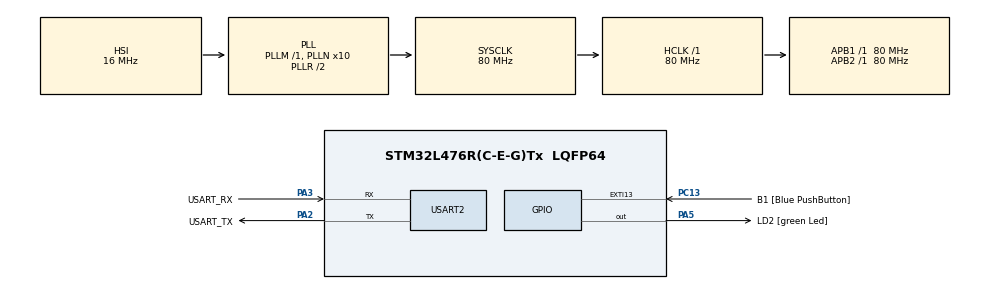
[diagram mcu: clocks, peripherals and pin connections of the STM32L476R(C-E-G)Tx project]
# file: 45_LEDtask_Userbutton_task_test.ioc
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FREERTOS.Tasks01=defaultTask,0,128,StartDefaultTask,Default,NULL,Dynamic,NULL,NULL
Mcu.Family=STM32L4
Mcu.Name=STM32L476R(C-E-G)Tx
Mcu.Package=LQFP64
NVIC.PriorityGroup=NVIC_PRIORITYGROUP_4
PA13\ (JTMS-SWDIO).GPIO_Label=TMS
PA13\ (JTMS-SWDIO).Mode=Serial_Wire
PA13\ (JTMS-SWDIO).Signal=SYS_JTMS-SWDIO
PA14\ (JTCK-SWCLK).GPIO_Label=TCK
PA14\ (JTCK-SWCLK).Mode=Serial_Wire
PA14\ (JTCK-SWCLK).Signal=SYS_JTCK-SWCLK
PA2.GPIO_Label=USART_TX
PA2.GPIO_Mode=GPIO_MODE_AF_PP
PA2.GPIO_PuPd=GPIO_NOPULL
PA2.GPIO_Speed=GPIO_SPEED_FREQ_VERY_HIGH
PA2.Mode=Asynchronous
PA2.Signal=USART2_TX
PA3.GPIO_Label=USART_RX
PA3.GPIO_Mode=GPIO_MODE_AF_PP
PA3.GPIO_PuPd=GPIO_NOPULL
PA3.GPIO_Speed=GPIO_SPEED_FREQ_VERY_HIGH
PA3.Mode=Asynchronous
PA3.Signal=USART2_RX
PA5.GPIO_Label=LD2 [green Led]
PA5.GPIO_ModeDefaultOutputPP=GPIO_MODE_OUTPUT_PP
PA5.GPIO_PuPd=GPIO_NOPULL
PA5.GPIO_Speed=GPIO_SPEED_FREQ_LOW
PA5.Signal=GPIO_Output
PB3\ (JTDO-TRACESWO).GPIO_Label=SWO
PB3\ (JTDO-TRACESWO).Signal=SYS_JTDO-SWO
PC13.GPIO_Label=B1 [Blue PushButton]
PC13.GPIO_ModeDefaultEXTI=GPIO_MODE_IT_FALLING
PC13.GPIO_PuPd=GPIO_NOPULL
PC13.Signal=GPXTI13
PC14-OSC32_IN\ (PC14).Mode=LSE-External-Oscillator
PC14-OSC32_IN\ (PC14).Signal=RCC_OSC32_IN
PC15-OSC32_OUT\ (PC15).Mode=LSE-External-Oscillator
PC15-OSC32_OUT\ (PC15).Signal=RCC_OSC32_OUT
PH0-OSC_IN\ (PH0).Signal=RCC_OSC_IN
PH1-OSC_OUT\ (PH1).Signal=RCC_OSC_OUT
ProjectManager.HeapSize=0x200
ProjectManager.StackSize=0x400
ProjectManager.TargetToolchain=STM32CubeIDE
RCC.ADCFreq_Value=64000000
RCC.AHBFreq_Value=80000000
RCC.APB1Freq_Value=80000000
RCC.APB1TimFreq_Value=80000000
RCC.APB2Freq_Value=80000000
RCC.APB2TimFreq_Value=80000000
RCC.CortexFreq_Value=80000000
RCC.HCLKFreq_Value=80000000
RCC.HSE_VALUE=8000000
RCC.HSI_VALUE=16000000
RCC.MSI_VALUE=4000000
RCC.PLLN=10
RCC.PLLSourceVirtual=RCC_PLLSOURCE_HSI
RCC.PREFETCH_ENABLE=1
RCC.SYSCLKFreq_VALUE=80000000
RCC.SYSCLKSource=RCC_SYSCLKSOURCE_PLLCLK
RCC.USBFreq_Value=64000000
RCC.VCOOutputFreq_Value=160000000
USART2.VirtualMode-Asynchronous=VM_ASYNC
VP_FREERTOS_VS_CMSIS_V1.Mode=CMSIS_V1
board=NUCLEO-L476RG

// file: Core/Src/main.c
/* USER CODE BEGIN Header */
/**
  ******************************************************************************
  * @file           : main.c
  * @brief          : Main program body
  ******************************************************************************
  * @attention
  *
  * Copyright (c) 2025 STMicroelectronics.
  * All rights reserved.
  *
  * This software is licensed under terms that can be found in the LICENSE file
  * in the root directory of this software component.
  * If no LICENSE file comes with this software, it is provided AS-IS.
  *
  ******************************************************************************
  */
/* USER CODE END Header */
#include "main.h"
#include "cmsis_os.h"

/* USER CODE BEGIN Includes */
#include<stdio.h>
#include<stdarg.h>
/* USER CODE END Includes */

UART_HandleTypeDef huart2;

osThreadId defaultTaskHandle;
/* USER CODE BEGIN PV */
uint8_t BUTTON_PRESSED=0;
/* USER CODE END PV */

void SystemClock_Config(void);
static void MX_GPIO_Init(void);
static void MX_USART2_UART_Init(void);
void StartDefaultTask(void const * argument);

/* USER CODE BEGIN 0 */
void debug_printf(const char *fmt, ...)
{
	char buffer[256];
	va_list args;
	va_start(args, fmt);
	vsnprintf(buffer, sizeof(buffer), fmt, args);
	va_end(args);
	uint16_t i = 0;
	while(buffer[i] != '\0')
	{
		ITM_SendChar(buffer[i]);
		i++;
	}
}

//TaskHandle_t xTaskHandler1 = NULL ;
BaseType_t status;
void led_Task_Handler(void *params)
{

	while(1)
	{
		if(BUTTON_PRESSED == 1)
		{
			  HAL_GPIO_WritePin(LD2_GPIO_Port, LD2_Pin, GPIO_PIN_SET);

		}
		else
		{
			  HAL_GPIO_WritePin(LD2_GPIO_Port, LD2_Pin, GPIO_PIN_RESET);
		}
	}
}
void btn_Task_Handler(void *params)
{
	while(1)
	{
		if(HAL_GPIO_ReadPin(B1_GPIO_Port, B1_Pin)==1)
		{

			BUTTON_PRESSED = 0;
		}
		else
		{
			debug_printf("Button pressed\n");
			BUTTON_PRESSED = 1;
		}
	}
}
/* USER CODE END 0 */

int main(void)
{

  /* MCU Configuration--------------------------------------------------------*/

  /* Reset of all peripherals, Initializes the Flash interface and the Systick. */
  HAL_Init();

  /* Configure the system clock */
  SystemClock_Config();

  /* Initialize all configured peripherals */
  MX_GPIO_Init();
  MX_USART2_UART_Init();

  /* Create the thread(s) */
  /* definition and creation of defaultTask */
  osThreadDef(defaultTask, StartDefaultTask, osPriorityNormal, 0, 128);
  defaultTaskHandle = osThreadCreate(osThread(defaultTask), NULL);

  /* USER CODE BEGIN RTOS_THREADS */
  /* add threads, ... */
  xTaskCreate(led_Task_Handler,"Led_Task",200,NULL,1,NULL);
  xTaskCreate(btn_Task_Handler,"BUTTON_Task",200,NULL,1,NULL);

    vTaskStartScheduler();
  /* USER CODE END RTOS_THREADS */

  /* Start scheduler */
  osKernelStart();

  /* We should never get here as control is now taken by the scheduler */

  /* Infinite loop */
  while (1)
  {

  }
}

void SystemClock_Config(void)
{
  RCC_OscInitTypeDef RCC_OscInitStruct = {0};
  RCC_ClkInitTypeDef RCC_ClkInitStruct = {0};

  /** Configure the main internal regulator output voltage
  */
  if (HAL_PWREx_ControlVoltageScaling(PWR_REGULATOR_VOLTAGE_SCALE1) != HAL_OK)
  {
    Error_Handler();
  }

  /** Initializes the RCC Oscillators according to the specified parameters
  * in the RCC_OscInitTypeDef structure.
  */
  RCC_OscInitStruct.OscillatorType = RCC_OSCILLATORTYPE_HSI;
  RCC_OscInitStruct.HSIState = RCC_HSI_ON;
  RCC_OscInitStruct.HSICalibrationValue = RCC_HSICALIBRATION_DEFAULT;
  RCC_OscInitStruct.PLL.PLLState = RCC_PLL_ON;
  RCC_OscInitStruct.PLL.PLLSource = RCC_PLLSOURCE_HSI;
  RCC_OscInitStruct.PLL.PLLM = 1;
  RCC_OscInitStruct.PLL.PLLN = 10;
  RCC_OscInitStruct.PLL.PLLP = RCC_PLLP_DIV7;
  RCC_OscInitStruct.PLL.PLLQ = RCC_PLLQ_DIV2;
  RCC_OscInitStruct.PLL.PLLR = RCC_PLLR_DIV2;
  if (HAL_RCC_OscConfig(&RCC_OscInitStruct) != HAL_OK)
  {
    Error_Handler();
  }

  /** Initializes the CPU, AHB and APB buses clocks
  */
  RCC_ClkInitStruct.ClockType = RCC_CLOCKTYPE_HCLK|RCC_CLOCKTYPE_SYSCLK
                              |RCC_CLOCKTYPE_PCLK1|RCC_CLOCKTYPE_PCLK2;
  RCC_ClkInitStruct.SYSCLKSource = RCC_SYSCLKSOURCE_PLLCLK;
  RCC_ClkInitStruct.AHBCLKDivider = RCC_SYSCLK_DIV1;
  RCC_ClkInitStruct.APB1CLKDivider = RCC_HCLK_DIV1;
  RCC_ClkInitStruct.APB2CLKDivider = RCC_HCLK_DIV1;

  if (HAL_RCC_ClockConfig(&RCC_ClkInitStruct, FLASH_LATENCY_4) != HAL_OK)
  {
    Error_Handler();
  }
}

static void MX_USART2_UART_Init(void)
{

  huart2.Instance = USART2;
  huart2.Init.BaudRate = 115200;
  huart2.Init.WordLength = UART_WORDLENGTH_8B;
  huart2.Init.StopBits = UART_STOPBITS_1;
  huart2.Init.Parity = UART_PARITY_NONE;
  huart2.Init.Mode = UART_MODE_TX_RX;
  huart2.Init.HwFlowCtl = UART_HWCONTROL_NONE;
  huart2.Init.OverSampling = UART_OVERSAMPLING_16;
  huart2.Init.OneBitSampling = UART_ONE_BIT_SAMPLE_DISABLE;
  huart2.AdvancedInit.AdvFeatureInit = UART_ADVFEATURE_NO_INIT;
  if (HAL_UART_Init(&huart2) != HAL_OK)
  {
    Error_Handler();
  }

}

static void MX_GPIO_Init(void)
{
  GPIO_InitTypeDef GPIO_InitStruct = {0};

  /* GPIO Ports Clock Enable */
  __HAL_RCC_GPIOC_CLK_ENABLE();
  __HAL_RCC_GPIOH_CLK_ENABLE();
  __HAL_RCC_GPIOA_CLK_ENABLE();
  __HAL_RCC_GPIOB_CLK_ENABLE();

  /*Configure GPIO pin Output Level */
  HAL_GPIO_WritePin(LD2_GPIO_Port, LD2_Pin, GPIO_PIN_RESET);

  /*Configure GPIO pin : B1_Pin */
  GPIO_InitStruct.Pin = B1_Pin;
  GPIO_InitStruct.Mode = GPIO_MODE_IT_FALLING;
  GPIO_InitStruct.Pull = GPIO_NOPULL;
  HAL_GPIO_Init(B1_GPIO_Port, &GPIO_InitStruct);

  /*Configure GPIO pin : LD2_Pin */
  GPIO_InitStruct.Pin = LD2_Pin;
  GPIO_InitStruct.Mode = GPIO_MODE_OUTPUT_PP;
  GPIO_InitStruct.Pull = GPIO_NOPULL;
  GPIO_InitStruct.Speed = GPIO_SPEED_FREQ_LOW;
  HAL_GPIO_Init(LD2_GPIO_Port, &GPIO_InitStruct);

}

void StartDefaultTask(void const * argument)
{
  for(;;)
  {
    osDelay(1);
  }
}

void Error_Handler(void)
{
  __disable_irq();
  while (1)
  {
  }
}
